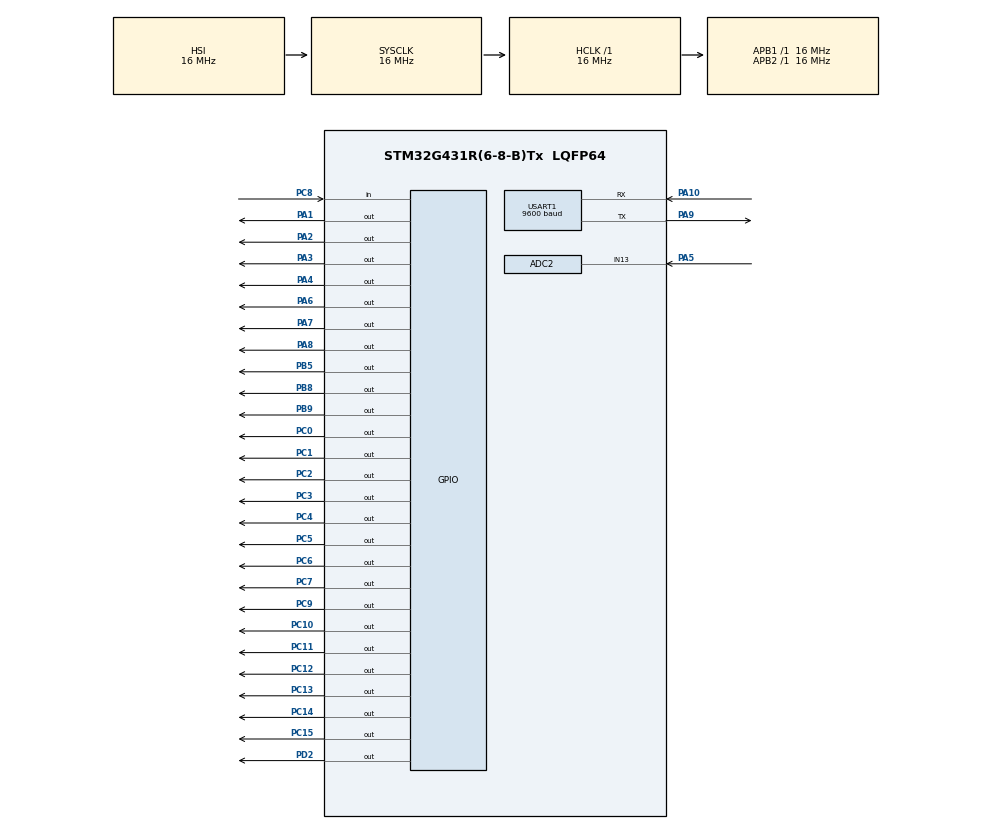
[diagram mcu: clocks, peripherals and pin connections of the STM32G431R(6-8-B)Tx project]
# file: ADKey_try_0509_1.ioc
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ADC2.Channel-0\#ChannelRegularConversion=ADC_CHANNEL_13
ADC2.DMAContinuousRequests=ENABLE
ADC2.ExternalTrigConv=ADC_EXTERNALTRIG_T6_TRGO
ADC2.NbrOfConversionFlag=1
ADC2.OffsetNumber-0\#ChannelRegularConversion=ADC_OFFSET_NONE
ADC2.Rank-0\#ChannelRegularConversion=1
ADC2.SamplingTime-0\#ChannelRegularConversion=ADC_SAMPLETIME_2CYCLES_5
Dma.ADC2.0.Direction=DMA_PERIPH_TO_MEMORY
Dma.ADC2.0.EventEnable=DISABLE
Dma.ADC2.0.Instance=DMA1_Channel1
Dma.ADC2.0.MemDataAlignment=DMA_MDATAALIGN_HALFWORD
Dma.ADC2.0.MemInc=DMA_MINC_ENABLE
Dma.ADC2.0.Mode=DMA_CIRCULAR
Dma.ADC2.0.PeriphDataAlignment=DMA_PDATAALIGN_HALFWORD
Dma.ADC2.0.PeriphInc=DMA_PINC_DISABLE
Dma.ADC2.0.Polarity=HAL_DMAMUX_REQ_GEN_RISING
Dma.ADC2.0.Priority=DMA_PRIORITY_LOW
Dma.ADC2.0.RequestNumber=1
Dma.ADC2.0.SignalID=NONE
Dma.ADC2.0.SyncEnable=DISABLE
Dma.ADC2.0.SyncPolarity=HAL_DMAMUX_SYNC_NO_EVENT
Dma.ADC2.0.SyncRequestNumber=1
Dma.ADC2.0.SyncSignalID=NONE
Dma.Request0=ADC2
Mcu.Family=STM32G4
Mcu.Name=STM32G431R(6-8-B)Tx
Mcu.Package=LQFP64
NVIC.ADC1_2_IRQn=true\:3\:0\:true\:false\:true\:true\:true
NVIC.DMA1_Channel1_IRQn=true\:0\:0\:false\:false\:true\:false\:true
NVIC.PriorityGroup=NVIC_PRIORITYGROUP_4
NVIC.TIM6_DAC_IRQn=true\:4\:0\:true\:false\:true\:true\:true
PA1.Signal=GPIO_Output
PA10.Mode=Asynchronous
PA10.Signal=USART1_RX
PA2.Signal=GPIO_Output
PA3.Signal=GPIO_Output
PA4.Signal=GPIO_Output
PA5.Mode=IN13-Single-Ended
PA5.Signal=ADC2_IN13
PA6.Signal=GPIO_Output
PA7.Signal=GPIO_Output
PA8.Signal=GPIO_Output
PA9.Mode=Asynchronous
PA9.Signal=USART1_TX
PB5.Signal=GPIO_Output
PB8-BOOT0.Signal=GPIO_Output
PB9.Signal=GPIO_Output
PC0.Signal=GPIO_Output
PC1.Signal=GPIO_Output
PC10.Signal=GPIO_Output
PC11.Signal=GPIO_Output
PC12.Signal=GPIO_Output
PC13.Signal=GPIO_Output
PC14-OSC32_IN.Signal=GPIO_Output
PC15-OSC32_OUT.Signal=GPIO_Output
PC2.Signal=GPIO_Output
PC3.Signal=GPIO_Output
PC4.Signal=GPIO_Output
PC5.Signal=GPIO_Output
PC6.Signal=GPIO_Output
PC7.Signal=GPIO_Output
PC8.Signal=GPIO_Input
PC9.Signal=GPIO_Output
PD2.Signal=GPIO_Output
ProjectManager.HeapSize=0x200
ProjectManager.StackSize=0x400
ProjectManager.TargetToolchain=MDK-ARM V5
RCC.AHBFreq_Value=16000000
RCC.APB1Freq_Value=16000000
RCC.APB1TimFreq_Value=16000000
RCC.APB2Freq_Value=16000000
RCC.APB2TimFreq_Value=16000000
RCC.CortexFreq_Value=16000000
RCC.EXTERNAL_CLOCK_VALUE=12288000
RCC.HCLKFreq_Value=16000000
RCC.HSE_VALUE=8000000
RCC.HSI48_VALUE=48000000
RCC.HSI_VALUE=16000000
RCC.LSE_VALUE=32768
RCC.SYSCLKFreq_VALUE=16000000
RCC.USBFreq_Value=64000000
RCC.VCOOutputFreq_Value=128000000
TIM6.PeriodNoDither=999
TIM6.Prescaler=3
TIM6.TIM_MasterOutputTrigger=TIM_TRGO_UPDATE
USART1.BaudRate=9600
USART1.VirtualMode-Asynchronous=VM_ASYNC
VP_SYS_VS_DBSignals.Mode=DisableDeadBatterySignals
VP_TIM6_VS_ClockSourceINT.Mode=Enable_Timer
board=custom

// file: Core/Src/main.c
/* USER CODE BEGIN Header */
/**
  ******************************************************************************
  * @file           : main.c
  * @brief          : Main program body
  ******************************************************************************
  * @attention
  *
  * <h2><center>&copy; Copyright (c) 2021 STMicroelectronics.
  * All rights reserved.</center></h2>
  *
  * This software component is licensed by ST under BSD 3-Clause license,
  * the "License"; You may not use this file except in compliance with the
  * License. You may obtain a copy of the License at:
  *                        opensource.org/licenses/BSD-3-Clause
  *
  ******************************************************************************
  */
/* USER CODE END Header */
#include "main.h"
#include "adc.h"
#include "dma.h"
#include "tim.h"
#include "usart.h"
#include "gpio.h"

/* USER CODE BEGIN Includes */
#include "stdio.h"
#include "string.h"
#include "lcd.h"
#include "ADKey.h"
/* USER CODE END Includes */

/* USER CODE BEGIN PV */
uint16_t adc_value[20],readkey;
char showADC[22],showKey[22];
uint8_t adcCompleteFlag;
/* USER CODE END PV */

void SystemClock_Config(void);

int main(void)
{

  /* MCU Configuration--------------------------------------------------------*/

  /* Reset of all peripherals, Initializes the Flash interface and the Systick. */
  HAL_Init();

  /* Configure the system clock */
  SystemClock_Config();

  /* Initialize all configured peripherals */
  MX_GPIO_Init();
  MX_DMA_Init();
  MX_ADC2_Init();
  MX_TIM6_Init();
  MX_USART1_UART_Init();
  /* USER CODE BEGIN 2 */
	LCD_Init();
	LCD_SetBackColor(Black);
	LCD_SetTextColor(White);
	LCD_DisplayStringLine(Line0,(uint8_t *)"                    ");
	LCD_DisplayStringLine(Line1,(uint8_t *)"  test:%u            ");
	LCD_DisplayStringLine(Line2,(uint8_t *)"                    ");
	LCD_DisplayStringLine(Line3,(uint8_t *)"                    ");
	LCD_DisplayStringLine(Line4,(uint8_t *)"                    ");
	LCD_DisplayStringLine(Line5,(uint8_t *)"                    ");
	LCD_DisplayStringLine(Line6,(uint8_t *)"                    ");
	LCD_DisplayStringLine(Line7,(uint8_t *)"                    ");
	LCD_DisplayStringLine(Line8,(uint8_t *)"                    ");
	LCD_DisplayStringLine(Line9,(uint8_t *)"                    ");

	GPIOC->BSRR=0x0000FF00;
	HAL_GPIO_WritePin(GPIOD,GPIO_PIN_2,GPIO_PIN_SET);
	HAL_GPIO_WritePin(GPIOD,GPIO_PIN_2,GPIO_PIN_RESET);

	HAL_TIM_Base_Start(&htim6);
	//HAL_ADCEx_Calibration_Start(&hadc2,ADC_SINGLE_ENDED);
	HAL_ADC_Start_DMA(&hadc2,(uint32_t *)adc_value,20);
  /* USER CODE END 2 */

  /* Infinite loop */
  /* USER CODE BEGIN WHILE */
  while (1)
  {
		if (adcCompleteFlag)
		{
			adcCompleteFlag=0;
			sprintf(showADC,"  Value:%u           ",readkey);
			LCD_DisplayStringLine(Line2,(u8 *)showADC);
			sprintf(showKey,"  test:%u            ",adKey_scan());
			LCD_DisplayStringLine(Line1,(u8 *)showKey);
		}
    /* USER CODE END WHILE */

  }
}

void SystemClock_Config(void)
{
  RCC_OscInitTypeDef RCC_OscInitStruct = {0};
  RCC_ClkInitTypeDef RCC_ClkInitStruct = {0};
  RCC_PeriphCLKInitTypeDef PeriphClkInit = {0};

  /** Configure the main internal regulator output voltage
  */
  HAL_PWREx_ControlVoltageScaling(PWR_REGULATOR_VOLTAGE_SCALE1);
  /** Initializes the RCC Oscillators according to the specified parameters
  * in the RCC_OscInitTypeDef structure.
  */
  RCC_OscInitStruct.OscillatorType = RCC_OSCILLATORTYPE_HSI;
  RCC_OscInitStruct.HSIState = RCC_HSI_ON;
  RCC_OscInitStruct.HSICalibrationValue = RCC_HSICALIBRATION_DEFAULT;
  RCC_OscInitStruct.PLL.PLLState = RCC_PLL_NONE;
  if (HAL_RCC_OscConfig(&RCC_OscInitStruct) != HAL_OK)
  {
    Error_Handler();
  }
  /** Initializes the CPU, AHB and APB buses clocks
  */
  RCC_ClkInitStruct.ClockType = RCC_CLOCKTYPE_HCLK|RCC_CLOCKTYPE_SYSCLK
                              |RCC_CLOCKTYPE_PCLK1|RCC_CLOCKTYPE_PCLK2;
  RCC_ClkInitStruct.SYSCLKSource = RCC_SYSCLKSOURCE_HSI;
  RCC_ClkInitStruct.AHBCLKDivider = RCC_SYSCLK_DIV1;
  RCC_ClkInitStruct.APB1CLKDivider = RCC_HCLK_DIV1;
  RCC_ClkInitStruct.APB2CLKDivider = RCC_HCLK_DIV1;

  if (HAL_RCC_ClockConfig(&RCC_ClkInitStruct, FLASH_LATENCY_0) != HAL_OK)
  {
    Error_Handler();
  }
  /** Initializes the peripherals clocks
  */
  PeriphClkInit.PeriphClockSelection = RCC_PERIPHCLK_USART1|RCC_PERIPHCLK_ADC12;
  PeriphClkInit.Usart1ClockSelection = RCC_USART1CLKSOURCE_PCLK2;
  PeriphClkInit.Adc12ClockSelection = RCC_ADC12CLKSOURCE_SYSCLK;
  if (HAL_RCCEx_PeriphCLKConfig(&PeriphClkInit) != HAL_OK)
  {
    Error_Handler();
  }
}

/* USER CODE BEGIN 4 */
void HAL_ADC_ConvCpltCallback(ADC_HandleTypeDef *hadc)
{
	readkey=midFliter(adc_value,20);
  adcCompleteFlag=1;
}
/* USER CODE END 4 */

void Error_Handler(void)
{
  __disable_irq();
  while (1)
  {
  }
}

/************************ (C) COPYRIGHT STMicroelectronics *****END OF FILE****/
